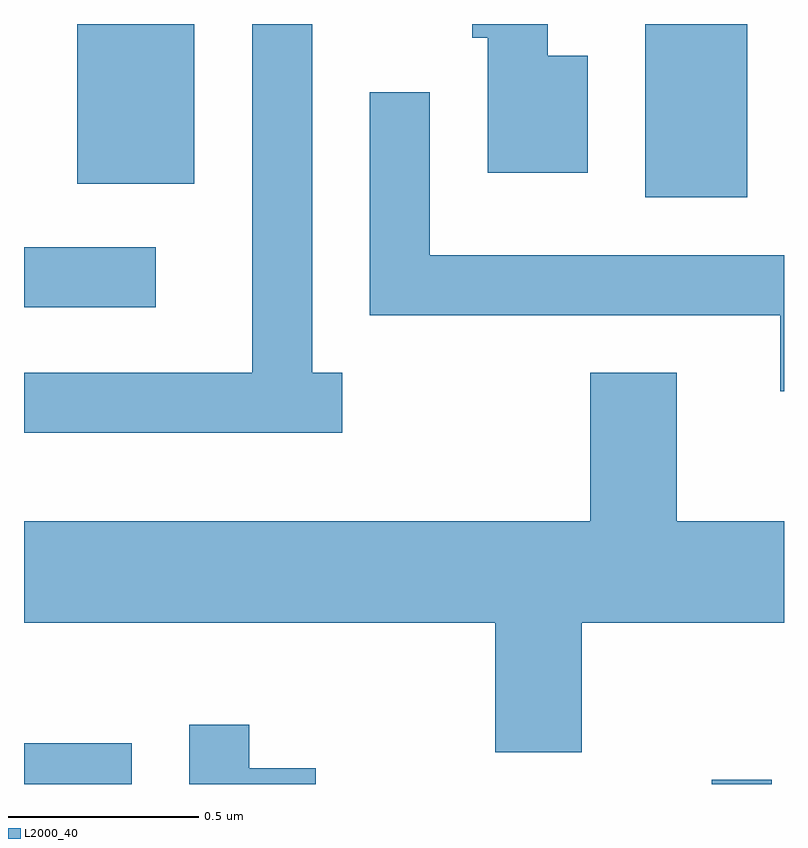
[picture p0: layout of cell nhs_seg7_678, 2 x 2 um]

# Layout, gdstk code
import gdstk
lib = gdstk.Library(unit=1e-6, precision=1e-09)
def R(c, l, rs):  # rectangles x0, y0, x1, y1
    for r in rs: c.add(gdstk.rectangle(r[:2], r[2:], *l))
def P(c, l, *ps):  # polygons
    for p in ps: c.add(gdstk.Polygon(p, *l))
L2000_40 = (2000, 40)

nhs_seg7_678 = lib.new_cell('nhs_seg7_678')
R(nhs_seg7_678, L2000_40, [(189.611,1798.252,189.894,1798.359), (191.421,1798.252,191.579,1798.263), (189.611,1799.506,189.958,1799.664), (191.246,1799.796,191.514,1800.252), (189.751,1799.831,190.059,1800.252)])
P(nhs_seg7_678, L2000_40, [(190.448,1799.334),(190.369,1799.334),(190.369,1800.252),(190.211,1800.252),(190.211,1799.334),(189.611,1799.334),(189.611,1799.176),(190.448,1799.176)],
  [(191.094,1800.169),(190.989,1800.169),(190.989,1800.252),(190.791,1800.252),(190.791,1800.216),(190.831,1800.216),(190.831,1799.861),(191.094,1799.861)],
  [(191.611,1799.644),(190.679,1799.644),(190.679,1800.073),(190.521,1800.073),(190.521,1799.486),(191.601,1799.486),(191.601,1799.286),(191.611,1799.286)],
  [(191.079,1798.676),(191.611,1798.676),(191.611,1798.944),(191.329,1798.944),(191.329,1799.334),(191.101,1799.334),(191.101,1798.944),(189.611,1798.944),(189.611,1798.676),(190.851,1798.676),(190.851,1798.336),(191.079,1798.336)],
  [(190.379,1798.294),(190.204,1798.294),(190.204,1798.408),(190.046,1798.408),(190.046,1798.252),(190.379,1798.252)])

lib.write_gds('nhs_seg7_678.gds')
